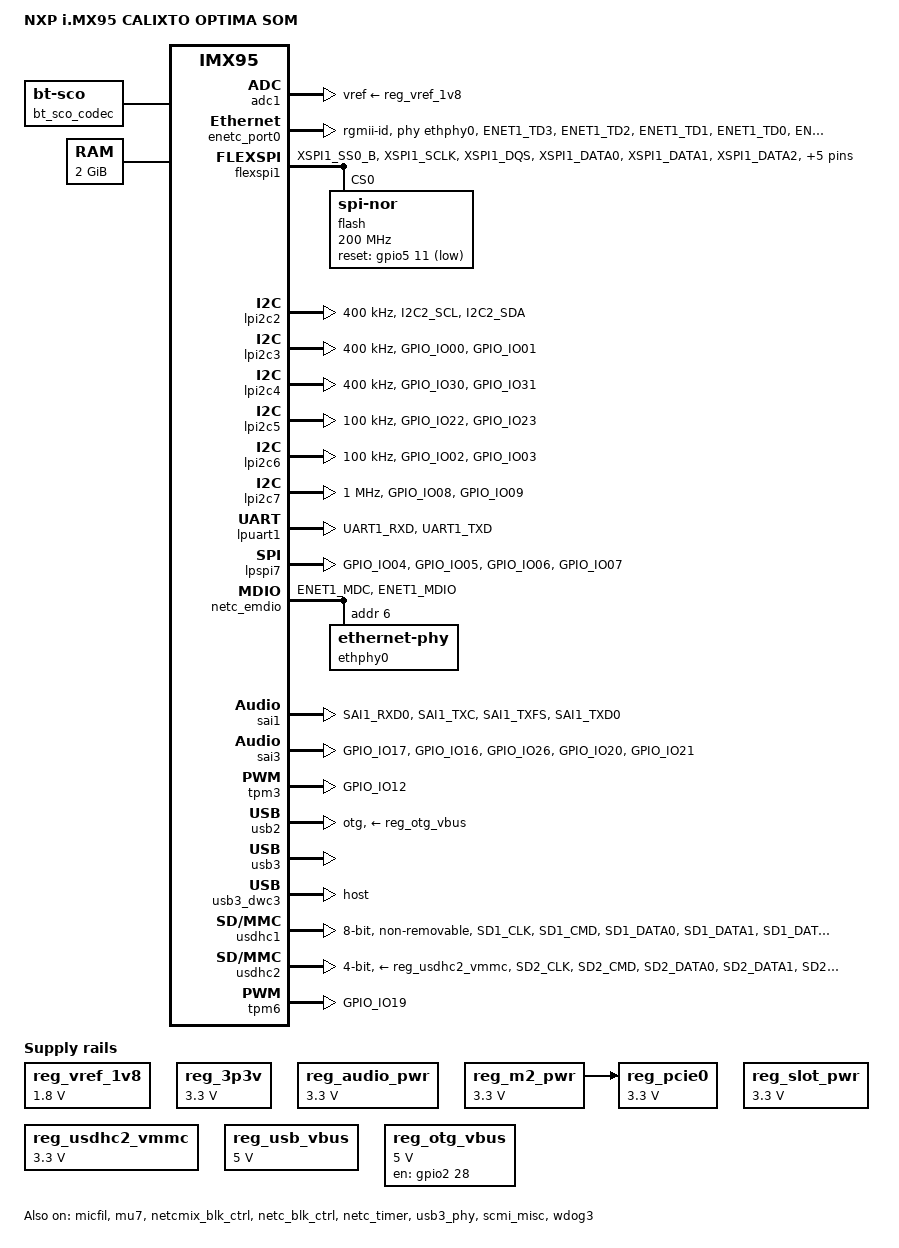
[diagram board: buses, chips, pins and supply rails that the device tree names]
// SPDX-License-Identifier: (GPL-2.0+ OR MIT)
/*
 * Copyright 2024 NXP
 */

/dts-v1/;

#include <dt-bindings/pwm/pwm.h>
#include <dt-bindings/usb/pd.h>
#include "imx95.dtsi"

#define FALLING_EDGE			1
#define RISING_EDGE			2

/ {
	model = "NXP i.MX95 CALIXTO OPTIMA SOM";
	compatible = "fsl,imx95-calixto-optima", "fsl,imx95";

	chosen {
                bootargs = "console=ttyLP0,115200 earlycon";
        };

	aliases {
		ethernet0 = &enetc_port0;
		gpio0 = &gpio1;
		gpio1 = &gpio2;
		gpio2 = &gpio3;
		gpio3 = &gpio4;
		gpio4 = &gpio5;
		i2c0 = &lpi2c1;
		i2c1 = &lpi2c2;
		i2c2 = &lpi2c3;
		i2c3 = &lpi2c4;
		i2c4 = &lpi2c5;
		i2c5 = &lpi2c6;
		i2c6 = &lpi2c7;
		i2c7 = &lpi2c8;
		mmc0 = &usdhc1;
		mmc1 = &usdhc2;
		serial0 = &lpuart1;
		serial4 = &lpuart5;
	};

	bt_sco_codec: audio-codec-bt-sco {
		#sound-dai-cells = <1>;
		compatible = "linux,bt-sco";
	};

	chosen {
		stdout-path = &lpuart1;
	};

	memory@80000000 {
		device_type = "memory";
		reg = <0x0 0x80000000 0 0x80000000>;
	};

	reserved-memory {
		ranges;
		#address-cells = <2>;
		#size-cells = <2>;

		linux_cma: linux,cma {
			compatible = "shared-dma-pool";
			alloc-ranges = <0 0x80000000 0 0x7F000000>;
			reusable;
			size = <0 0x3c000000>;
			linux,cma-default;
		};

		vdev0vring0: vdev0vring0@88000000 {
			reg = <0 0x88000000 0 0x8000>;
			no-map;
		};

		vdev0vring1: vdev0vring1@88008000 {
			reg = <0 0x88008000 0 0x8000>;
			no-map;
		};

		vdev1vring0: vdev1vring0@88010000 {
			reg = <0 0x88010000 0 0x8000>;
			no-map;
		};

		vdev1vring1: vdev1vring1@88018000 {
			reg = <0 0x88018000 0 0x8000>;
			no-map;
		};

		vdevbuffer: vdevbuffer@88020000 {
			compatible = "shared-dma-pool";
			reg = <0 0x88020000 0 0x100000>;
			no-map;
		};

		rsc_table: rsc-table@88220000 {
			reg = <0 0x88220000 0 0x1000>;
			no-map;
		};

		vpu_boot: vpu_boot@a0000000 {
			reg = <0 0xa0000000 0 0x100000>;
			no-map;
		};
	};

	reg_vref_1v8: regulator-1p8v {
		compatible = "regulator-fixed";
		regulator-max-microvolt = <1800000>;
		regulator-min-microvolt = <1800000>;
		regulator-name = "+V1.8_SW";
	};

	reg_3p3v: regulator-3p3v {
		compatible = "regulator-fixed";
		regulator-max-microvolt = <3300000>;
		regulator-min-microvolt = <3300000>;
		regulator-name = "+V3.3_SW";
	};

	reg_audio_pwr: regulator-audio-pwr {
		compatible = "regulator-fixed";
		regulator-name = "audio-pwr";
		regulator-min-microvolt = <3300000>;
		regulator-max-microvolt = <3300000>;
		enable-active-high;
		regulator-always-on;
		regulator-boot-on;
	};

	reg_audio_slot: regulator-audio-slot {
		compatible = "regulator-fixed";
		regulator-name = "audio-wm8962";
		regulator-min-microvolt = <3300000>;
		regulator-max-microvolt = <3300000>;
		enable-active-high;
		regulator-always-on;
		regulator-boot-on;
		status = "disabled";
	};

	reg_m2_pwr: regulator-m2-pwr {
		compatible = "regulator-fixed";
		regulator-name = "M.2-power";
		regulator-min-microvolt = <3300000>;
		regulator-max-microvolt = <3300000>;
		enable-active-high;
		regulator-boot-on;
		startup-delay-us = <5000>;
	};

	reg_pcie0: regulator-pcie {
		compatible = "regulator-fixed";
		regulator-name = "PCIE_WLAN_EN";
		regulator-min-microvolt = <3300000>;
		regulator-max-microvolt = <3300000>;
		vin-supply = <&reg_m2_pwr>;
		enable-active-high;
		regulator-boot-on;
	};

	reg_slot_pwr: regulator-slot-pwr {
		compatible = "regulator-fixed";
		regulator-name = "PCIe slot-power";
		regulator-min-microvolt = <3300000>;
		regulator-max-microvolt = <3300000>;
		enable-active-high;
		regulator-boot-on;
	};

	reg_usdhc2_vmmc: regulator-usdhc2 {
		compatible = "regulator-fixed";
		pinctrl-names = "default";
		pinctrl-0 = <&pinctrl_reg_usdhc2_vmmc>;
		regulator-name = "VDD_SD2_3V3";
		regulator-min-microvolt = <3300000>;
		regulator-max-microvolt = <3300000>;
		//gpio = <&gpio3 7 GPIO_ACTIVE_HIGH>;
		enable-active-high;
		off-on-delay-us = <12000>;
	};

	reg_usb_vbus: regulator-vbus {
		compatible = "regulator-fixed";
		regulator-name = "USB_VBUS";
		regulator-min-microvolt = <5000000>;
		regulator-max-microvolt = <5000000>;
		enable-active-high;
		regulator-boot-on;
	};
	
	reg_otg_vbus: regulator-otg-vbus {
		compatible = "regulator-fixed";
		regulator-name = "usb_otg_vbus";
		regulator-min-microvolt = <5000000>;
		regulator-max-microvolt = <5000000>;
		pinctrl-names = "default";
		pinctrl-0 = <&pinctrl_otg_vbus>;
		gpio = <&gpio2 28 GPIO_ACTIVE_HIGH>;
		enable-active-high;		
	};

	sound-bt-sco {
		compatible = "simple-audio-card";
		simple-audio-card,name = "bt-sco-audio";
		simple-audio-card,format = "dsp_a";
		simple-audio-card,bitclock-inversion;
		simple-audio-card,frame-master = <&btcpu>;
		simple-audio-card,bitclock-master = <&btcpu>;

		btcpu: simple-audio-card,cpu {
			sound-dai = <&sai1>;
			dai-tdm-slot-num = <2>;
			dai-tdm-slot-width = <16>;
		};

		simple-audio-card,codec {
			sound-dai = <&bt_sco_codec 1>;
		};
	};

	sound-micfil {
		compatible = "fsl,imx-audio-card";
		model = "micfil-audio";

		pri-dai-link {
			link-name = "micfil hifi";
			format = "i2s";
			cpu {
				sound-dai = <&micfil>;
			};
		};
	};
};

&adc1 {
	vref-supply = <&reg_vref_1v8>;
	status = "okay";
};

&enetc_port0 {
	pinctrl-names = "default";
	pinctrl-0 = <&pinctrl_enetc0>;
	phy-handle = <&ethphy0>;
	phy-mode = "rgmii-id";
	status = "okay";
};

&flexcan1 {
	pinctrl-names = "default";
	pinctrl-0 = <&pinctrl_flexcan1>;
//	phys = <&flexcan1_phy>;
	status = "disabled";
};

&flexcan2 {
	pinctrl-names = "default";
	pinctrl-0 = <&pinctrl_flexcan2>;
//	phys = <&flexcan2_phy>;
	status = "disabled";
};

&flexspi1 {
	pinctrl-names = "default";
	pinctrl-0 = <&pinctrl_flexspi1>;
	status = "okay";

	flash@0 {
		compatible = "jedec,spi-nor";
		reg = <0>;
		pinctrl-names = "default";
		pinctrl-0 = <&pinctrl_flexspi1_reset>;
		reset-gpios = <&gpio5 11 GPIO_ACTIVE_LOW>;
		#address-cells = <1>;
		#size-cells = <1>;
		spi-max-frequency = <200000000>;
		spi-tx-bus-width = <8>;
		spi-rx-bus-width = <8>;
	};
};

&lpi2c2 {
	clock-frequency = <400000>;
	pinctrl-names = "default";
	pinctrl-0 = <&pinctrl_lpi2c2>;
	status = "okay";
};

&lpi2c3 {
	clock-frequency = <400000>;
	pinctrl-names = "default";
	pinctrl-0 = <&pinctrl_lpi2c3>;
	status = "okay";
};

&lpi2c4 {
	clock-frequency = <400000>;
	pinctrl-names = "default";
	pinctrl-0 = <&pinctrl_lpi2c4>;
	status = "okay";

};

&lpi2c5 {
	clock-frequency = <100000>;
	pinctrl-names = "default";
	pinctrl-0 = <&pinctrl_lpi2c5>;
	status = "okay";

};

&lpi2c6 {
	clock-frequency = <100000>;
	pinctrl-names = "default";
	pinctrl-0 = <&pinctrl_lpi2c6>;
	status = "okay";
};

&lpi2c7 {
	clock-frequency = <1000000>;
	pinctrl-names = "default";
	pinctrl-0 = <&pinctrl_lpi2c7>;
	status = "okay";
};

&lpuart1 {
	/* console */
	pinctrl-names = "default";
	pinctrl-0 = <&pinctrl_uart1>;
	status = "okay";
};

&lpuart5 {
	pinctrl-names = "default";
	pinctrl-0 = <&pinctrl_uart5>;
	status = "disabled";
};

&lpspi7 {
	num-cs = <1>;
	pinctrl-names = "default";
	pinctrl-0 = <&pinctrl_lpspi7>;
//	cs-gpios = <&gpio2 4 GPIO_ACTIVE_LOW>;
	status = "okay";
};

&micfil {
	#sound-dai-cells = <0>;
	pinctrl-names = "default";
	pinctrl-0 = <&pinctrl_pdm>;
	assigned-clocks = <&scmi_clk IMX95_CLK_AUDIOPLL1_VCO>,
			  <&scmi_clk IMX95_CLK_AUDIOPLL2_VCO>,
			  <&scmi_clk IMX95_CLK_AUDIOPLL1>,
			  <&scmi_clk IMX95_CLK_AUDIOPLL2>,
			  <&scmi_clk IMX95_CLK_PDM>;
	assigned-clock-parents = <0>, <0>, <0>, <0>,
				 <&scmi_clk IMX95_CLK_AUDIOPLL1>;
	assigned-clock-rates = <3932160000>,
			       <3612672000>, <393216000>,
			       <361267200>, <49152000>;
	status = "okay";
};

&mu7 {
	status = "okay";
};

&netcmix_blk_ctrl {
	status = "okay";
};

&netc_blk_ctrl {
	status = "okay";
};

&netc_emdio {
	pinctrl-names = "default";
	pinctrl-0 = <&pinctrl_emdio>;
	status = "okay";

	ethphy0: ethernet-phy@6 {
		reg = <6>;
		reset-assert-us = <10000>;
		reset-deassert-us = <80000>;
	};
};

&netc_timer {
	status = "okay";
};

&pcie0 {
	pinctrl-0 = <&pinctrl_pcie0>;
	pinctrl-names = "default";
//	reset-gpio = <&i2c7_pcal6524 5 GPIO_ACTIVE_LOW>;
	vpcie-supply = <&reg_pcie0>;
	status = "disabled";
};

&pcie0_ep {
	pinctrl-0 = <&pinctrl_pcie0>;
	pinctrl-names = "default";
	vpcie-supply = <&reg_pcie0>;
	status = "disabled";
};

&pcie1 {
	pinctrl-0 = <&pinctrl_pcie1>;
	pinctrl-names = "default";
//	reset-gpio = <&i2c7_pcal6524 16 GPIO_ACTIVE_LOW>;
	vpcie-supply = <&reg_slot_pwr>;
	status = "disabled";
};

&pcie1_ep {
	pinctrl-0 = <&pinctrl_pcie1>;
	pinctrl-names = "default";
	vpcie-supply = <&reg_slot_pwr>;
	status = "disabled";
};


&sai1 {
	#sound-dai-cells = <0>;
	pinctrl-names = "default";
	pinctrl-0 = <&pinctrl_sai1>;
	assigned-clocks = <&scmi_clk IMX95_CLK_AUDIOPLL1_VCO>,
			  <&scmi_clk IMX95_CLK_AUDIOPLL2_VCO>,
			  <&scmi_clk IMX95_CLK_AUDIOPLL1>,
			  <&scmi_clk IMX95_CLK_AUDIOPLL2>,
			  <&scmi_clk IMX95_CLK_SAI1>;
	assigned-clock-parents = <0>, <0>, <0>, <0>,
				 <&scmi_clk IMX95_CLK_AUDIOPLL1>;
	assigned-clock-rates = <3932160000>,
			       <3612672000>, <393216000>,
			       <361267200>, <12288000>;
	fsl,sai-mclk-direction-output;
	status = "okay";
};

&sai3 {
	#sound-dai-cells = <0>;
	pinctrl-names = "default";
	pinctrl-0 = <&pinctrl_sai3>;
	assigned-clocks = <&scmi_clk IMX95_CLK_AUDIOPLL1_VCO>,
			  <&scmi_clk IMX95_CLK_AUDIOPLL2_VCO>,
			  <&scmi_clk IMX95_CLK_AUDIOPLL1>,
			  <&scmi_clk IMX95_CLK_AUDIOPLL2>,
			  <&scmi_clk IMX95_CLK_SAI3>;
	assigned-clock-parents = <0>, <0>, <0>, <0>,
				 <&scmi_clk IMX95_CLK_AUDIOPLL1>;
	assigned-clock-rates = <3932160000>,
			       <3612672000>, <393216000>,
			       <361267200>, <12288000>;
	fsl,sai-mclk-direction-output;
	status = "okay";
};

&tpm3 {
	pinctrl-names = "default";
	pinctrl-0 = <&pinctrl_tpm3>;
	status = "okay";
};

&usb2 {
	dr_mode = "otg";
	hnp-disable;
	srp-disable;
	adp-disable;
	vbus-supply = <&reg_otg_vbus>;
	disable-over-current;
	status = "okay";
};

&usb3 {
	status = "okay";
};

&usb3_dwc3 {
	dr_mode = "host";
	snps,dis-u1-entry-quirk;
	snps,dis-u2-entry-quirk;
	status = "okay";
};


&usb3_phy {
	status = "okay";
};

&usdhc1 {
	pinctrl-names = "default", "state_100mhz", "state_200mhz", "sleep";
	pinctrl-0 = <&pinctrl_usdhc1>;
	pinctrl-1 = <&pinctrl_usdhc1_100mhz>;
	pinctrl-2 = <&pinctrl_usdhc1_200mhz>;
	pinctrl-3 = <&pinctrl_usdhc1>;
	bus-width = <8>;
	non-removable;
	no-sdio;
	no-sd;
	status = "okay";
};

&usdhc2 {
	pinctrl-names = "default", "state_100mhz", "state_200mhz", "sleep";
	pinctrl-0 = <&pinctrl_usdhc2>, <&pinctrl_usdhc2_gpio>;
	pinctrl-1 = <&pinctrl_usdhc2_100mhz>, <&pinctrl_usdhc2_gpio>;
	pinctrl-2 = <&pinctrl_usdhc2_200mhz>, <&pinctrl_usdhc2_gpio>;
	pinctrl-3 = <&pinctrl_usdhc2>, <&pinctrl_usdhc2_gpio>;
	cd-gpios = <&gpio3 0 GPIO_ACTIVE_LOW>;
	vmmc-supply = <&reg_usdhc2_vmmc>;
	bus-width = <4>;
	status = "okay";
};

&scmi_misc {
	status = "okay";
};

&wdog3 {
	fsl,ext-reset-output;
	status = "okay";
};

&scmi_iomuxc {
	pinctrl_emdio: emdiogrp {
		fsl,pins = <
			IMX95_PAD_ENET1_MDC__NETCMIX_TOP_NETC_MDC		0x50e
			IMX95_PAD_ENET1_MDIO__NETCMIX_TOP_NETC_MDIO		0x90e
		>;
	};

	pinctrl_enetc0: enetc0grp {
		fsl,pins = <
			IMX95_PAD_ENET1_TD3__NETCMIX_TOP_ETH0_RGMII_TD3		0x50e
			IMX95_PAD_ENET1_TD2__NETCMIX_TOP_ETH0_RGMII_TD2		0x50e
			IMX95_PAD_ENET1_TD1__NETCMIX_TOP_ETH0_RGMII_TD1		0x50e
			IMX95_PAD_ENET1_TD0__NETCMIX_TOP_ETH0_RGMII_TD0		0x50e
			IMX95_PAD_ENET1_TX_CTL__NETCMIX_TOP_ETH0_RGMII_TX_CTL	0x57e
			IMX95_PAD_ENET1_TXC__NETCMIX_TOP_ETH0_RGMII_TX_CLK	0x58e
			IMX95_PAD_ENET1_RX_CTL__NETCMIX_TOP_ETH0_RGMII_RX_CTL	0x57e
			IMX95_PAD_ENET1_RXC__NETCMIX_TOP_ETH0_RGMII_RX_CLK	0x58e
			IMX95_PAD_ENET1_RD0__NETCMIX_TOP_ETH0_RGMII_RD0		0x57e
			IMX95_PAD_ENET1_RD1__NETCMIX_TOP_ETH0_RGMII_RD1		0x57e
			IMX95_PAD_ENET1_RD2__NETCMIX_TOP_ETH0_RGMII_RD2		0x57e
			IMX95_PAD_ENET1_RD3__NETCMIX_TOP_ETH0_RGMII_RD3		0x57e
		>;
	};
	
	pinctrl_otg_vbus: usbotggrp {
		fsl,pins = <
			IMX95_PAD_GPIO_IO28__GPIO2_IO_BIT28			0x31e
		>;
	};

	pinctrl_flexcan1: flexcan1grp {
		fsl,pins = <
			IMX95_PAD_PDM_CLK__AONMIX_TOP_CAN1_TX			0x39e
			IMX95_PAD_PDM_BIT_STREAM0__AONMIX_TOP_CAN1_RX		0x39e
		>;
	};

	pinctrl_flexcan2: flexcan2grp {
		fsl,pins = <
			IMX95_PAD_GPIO_IO25__CAN2_TX				0x39e
			IMX95_PAD_GPIO_IO27__CAN2_RX				0x39e
		>;
	};

	pinctrl_flexspi1: flexspi1grp {
		fsl,pins = <
			IMX95_PAD_XSPI1_SS0_B__FLEXSPI1_A_SS0_B			0x3fe
			IMX95_PAD_XSPI1_SCLK__FLEXSPI1_A_SCLK			0x3fe
			IMX95_PAD_XSPI1_DQS__FLEXSPI1_A_DQS			0x3fe
			IMX95_PAD_XSPI1_DATA0__FLEXSPI1_A_DATA_BIT0		0x3fe
			IMX95_PAD_XSPI1_DATA1__FLEXSPI1_A_DATA_BIT1		0x3fe
			IMX95_PAD_XSPI1_DATA2__FLEXSPI1_A_DATA_BIT2		0x3fe
			IMX95_PAD_XSPI1_DATA3__FLEXSPI1_A_DATA_BIT3		0x3fe
			IMX95_PAD_XSPI1_DATA4__FLEXSPI1_A_DATA_BIT4		0x3fe
			IMX95_PAD_XSPI1_DATA5__FLEXSPI1_A_DATA_BIT5		0x3fe
			IMX95_PAD_XSPI1_DATA6__FLEXSPI1_A_DATA_BIT6		0x3fe
			IMX95_PAD_XSPI1_DATA7__FLEXSPI1_A_DATA_BIT7		0x3fe
		>;
	};

	pinctrl_flexspi1_reset: flexspi1-reset-grp {
		fsl,pins = <
			IMX95_PAD_XSPI1_SS1_B__GPIO5_IO_BIT11			0x3fe
		>;
	};

	pinctrl_hp: hpgrp {
		fsl,pins = <
			IMX95_PAD_GPIO_IO11__GPIO2_IO_BIT11		0x31e
		>;
	};

	pinctrl_lpi2c1: lpi2c1grp {
		fsl,pins = <
			IMX95_PAD_I2C1_SCL__AONMIX_TOP_LPI2C1_SCL		0x40000b9e
			IMX95_PAD_I2C1_SDA__AONMIX_TOP_LPI2C1_SDA		0x40000b9e
		>;
	};

	pinctrl_lpi2c2: lpi2c2grp {
		fsl,pins = <
			IMX95_PAD_I2C2_SCL__AONMIX_TOP_LPI2C2_SCL		0x40000b9e
			IMX95_PAD_I2C2_SDA__AONMIX_TOP_LPI2C2_SDA		0x40000b9e
		>;
	};

	pinctrl_lpi2c3: lpi2c3grp {
		fsl,pins = <
			IMX95_PAD_GPIO_IO00__LPI2C3_SDA				0x40000b9e
			IMX95_PAD_GPIO_IO01__LPI2C3_SCL				0x40000b9e
		>;
	};

	pinctrl_lpi2c4: lpi2c4grp {
		fsl,pins = <
			IMX95_PAD_GPIO_IO30__LPI2C4_SDA			0x40000b9e
			IMX95_PAD_GPIO_IO31__LPI2C4_SCL			0x40000b9e
		>;
	};

	pinctrl_lpi2c5: lpi2c5grp {
		fsl,pins = <
			IMX95_PAD_GPIO_IO22__LPI2C5_SDA			0x40000b9e
			IMX95_PAD_GPIO_IO23__LPI2C5_SCL			0x40000b9e
		>;
	};

	pinctrl_lpi2c6: lpi2c6grp {
		fsl,pins = <
			IMX95_PAD_GPIO_IO02__LPI2C6_SDA			0x40000b9e
			IMX95_PAD_GPIO_IO03__LPI2C6_SCL			0x40000b9e
		>;
	};

	pinctrl_lpi2c7: lpi2c7grp {
		fsl,pins = <
			IMX95_PAD_GPIO_IO08__LPI2C7_SDA			0x40000b9e
			IMX95_PAD_GPIO_IO09__LPI2C7_SCL			0x40000b9e
		>;
	};

	pinctrl_lpspi7: lpspi7grp {
		fsl,pins = <
			IMX95_PAD_GPIO_IO04__GPIO2_IO_BIT4		0x3fe
			IMX95_PAD_GPIO_IO05__LPSPI7_SIN			0x3fe
			IMX95_PAD_GPIO_IO06__LPSPI7_SOUT		0x3fe
			IMX95_PAD_GPIO_IO07__LPSPI7_SCK			0x3fe
		>;
	};

	pinctrl_pcie0: pcie0grp {
		fsl,pins = <
			IMX95_PAD_GPIO_IO32__HSIOMIX_TOP_PCIE1_CLKREQ_B		0x4000031e
		>;
	};

	pinctrl_pcie1: pcie1grp {
		fsl,pins = <
			IMX95_PAD_GPIO_IO35__HSIOMIX_TOP_PCIE2_CLKREQ_B		0x4000031e
		>;
	};

	pinctrl_pdm: pdmgrp {
		fsl,pins = <
			IMX95_PAD_PDM_CLK__AONMIX_TOP_PDM_CLK				0x31e
			IMX95_PAD_PDM_BIT_STREAM0__AONMIX_TOP_PDM_BIT_STREAM_BIT0	0x31e
		>;
	};

	pinctrl_sai1: sai1grp {
		fsl,pins = <
			IMX95_PAD_SAI1_RXD0__AONMIX_TOP_SAI1_RX_DATA_BIT0    0x31e
			IMX95_PAD_SAI1_TXC__AONMIX_TOP_SAI1_TX_BCLK      0x31e
			IMX95_PAD_SAI1_TXFS__AONMIX_TOP_SAI1_TX_SYNC     0x31e
			IMX95_PAD_SAI1_TXD0__AONMIX_TOP_SAI1_TX_DATA_BIT0    0x31e
		>;
	};

	pinctrl_sai2: sai2grp {
		fsl,pins = <
			IMX95_PAD_ENET2_MDIO__NETCMIX_TOP_SAI2_RX_BCLK			0x31e
			IMX95_PAD_ENET2_MDC__NETCMIX_TOP_SAI2_RX_SYNC			0x31e
			IMX95_PAD_ENET2_TD3__NETCMIX_TOP_SAI2_RX_DATA_BIT0		0x31e
			IMX95_PAD_ENET2_TD2__NETCMIX_TOP_SAI2_RX_DATA_BIT1		0x31e
			IMX95_PAD_ENET2_TXC__NETCMIX_TOP_SAI2_TX_BCLK			0x31e
			IMX95_PAD_ENET2_TX_CTL__NETCMIX_TOP_SAI2_TX_SYNC		0x31e
			IMX95_PAD_ENET2_RX_CTL__NETCMIX_TOP_SAI2_TX_DATA_BIT0		0x31e
			IMX95_PAD_ENET2_RXC__NETCMIX_TOP_SAI2_TX_DATA_BIT1		0x31e
			IMX95_PAD_ENET2_RD0__NETCMIX_TOP_SAI2_TX_DATA_BIT2		0x31e
			IMX95_PAD_ENET2_RD1__NETCMIX_TOP_SAI2_TX_DATA_BIT3		0x31e
			IMX95_PAD_ENET2_RD2__NETCMIX_TOP_SAI2_MCLK			0x31e
		>;
	};

	pinctrl_sai3: sai3grp {
		fsl,pins = <
			IMX95_PAD_GPIO_IO17__SAI3_MCLK				0x31e
			IMX95_PAD_GPIO_IO16__SAI3_TX_BCLK			0x31e
			IMX95_PAD_GPIO_IO26__SAI3_TX_SYNC			0x31e
			IMX95_PAD_GPIO_IO20__SAI3_RX_DATA_BIT0			0x31e
			IMX95_PAD_GPIO_IO21__SAI3_TX_DATA_BIT0			0x31e
		>;
	};

	pinctrl_tpm3: tpm3grp {
		fsl,pins = <
			IMX95_PAD_GPIO_IO12__TPM3_CH2			0x51e
		>;
	};

	pinctrl_tpm6: tpm6grp {
		fsl,pins = <
			IMX95_PAD_GPIO_IO19__TPM6_CH2			0x51e
		>;
	};

	pinctrl_uart1: uart1grp {
		fsl,pins = <
			IMX95_PAD_UART1_RXD__AONMIX_TOP_LPUART1_RX      0x31e
			IMX95_PAD_UART1_TXD__AONMIX_TOP_LPUART1_TX      0x31e
		>;
	};

	pinctrl_uart5: uart5grp {
		fsl,pins = <
			IMX95_PAD_DAP_TDO_TRACESWO__LPUART5_TX		0x31e
			IMX95_PAD_DAP_TDI__LPUART5_RX			0x31e
			IMX95_PAD_DAP_TMS_SWDIO__LPUART5_RTS_B		0x31e
			IMX95_PAD_DAP_TCLK_SWCLK__LPUART5_CTS_B		0x31e
		>;
	};

	pinctrl_usdhc1: usdhc1grp {
		fsl,pins = <
			IMX95_PAD_SD1_CLK__USDHC1_CLK			0x158e
			IMX95_PAD_SD1_CMD__USDHC1_CMD			0x138e
			IMX95_PAD_SD1_DATA0__USDHC1_DATA0		0x138e
			IMX95_PAD_SD1_DATA1__USDHC1_DATA1		0x138e
			IMX95_PAD_SD1_DATA2__USDHC1_DATA2		0x138e
			IMX95_PAD_SD1_DATA3__USDHC1_DATA3		0x138e
			IMX95_PAD_SD1_DATA4__USDHC1_DATA4		0x138e
			IMX95_PAD_SD1_DATA5__USDHC1_DATA5		0x138e
			IMX95_PAD_SD1_DATA6__USDHC1_DATA6		0x138e
			IMX95_PAD_SD1_DATA7__USDHC1_DATA7		0x138e
			IMX95_PAD_SD1_STROBE__USDHC1_STROBE		0x158e
		>;
	};

	pinctrl_usdhc1_100mhz: usdhc1-100mhzgrp {
		fsl,pins = <
			IMX95_PAD_SD1_CLK__USDHC1_CLK			0x158e
			IMX95_PAD_SD1_CMD__USDHC1_CMD			0x138e
			IMX95_PAD_SD1_DATA0__USDHC1_DATA0		0x138e
			IMX95_PAD_SD1_DATA1__USDHC1_DATA1		0x138e
			IMX95_PAD_SD1_DATA2__USDHC1_DATA2		0x138e
			IMX95_PAD_SD1_DATA3__USDHC1_DATA3		0x138e
			IMX95_PAD_SD1_DATA4__USDHC1_DATA4		0x138e
			IMX95_PAD_SD1_DATA5__USDHC1_DATA5		0x138e
			IMX95_PAD_SD1_DATA6__USDHC1_DATA6		0x138e
			IMX95_PAD_SD1_DATA7__USDHC1_DATA7		0x138e
			IMX95_PAD_SD1_STROBE__USDHC1_STROBE		0x158e
		>;
	};

	pinctrl_usdhc1_200mhz: usdhc1-200mhzgrp {
		fsl,pins = <
			IMX95_PAD_SD1_CLK__USDHC1_CLK			0x15fe
			IMX95_PAD_SD1_CMD__USDHC1_CMD			0x13fe
			IMX95_PAD_SD1_DATA0__USDHC1_DATA0		0x13fe
			IMX95_PAD_SD1_DATA1__USDHC1_DATA1		0x13fe
			IMX95_PAD_SD1_DATA2__USDHC1_DATA2		0x13fe
			IMX95_PAD_SD1_DATA3__USDHC1_DATA3		0x13fe
			IMX95_PAD_SD1_DATA4__USDHC1_DATA4		0x13fe
			IMX95_PAD_SD1_DATA5__USDHC1_DATA5		0x13fe
			IMX95_PAD_SD1_DATA6__USDHC1_DATA6		0x13fe
			IMX95_PAD_SD1_DATA7__USDHC1_DATA7		0x13fe
			IMX95_PAD_SD1_STROBE__USDHC1_STROBE		0x15fe
		>;
	};

	pinctrl_reg_usdhc2_vmmc: regusdhc2vmmcgrp {
		fsl,pins = <
			IMX95_PAD_SD2_RESET_B__GPIO3_IO_BIT7		0x31e
		>;
	};

	pinctrl_usdhc2_gpio: usdhc2gpiogrp {
		fsl,pins = <
			IMX95_PAD_SD2_CD_B__GPIO3_IO_BIT0		0x31e
		>;
	};

	pinctrl_usdhc2: usdhc2grp {
		fsl,pins = <
			IMX95_PAD_SD2_CLK__USDHC2_CLK			0x158e
			IMX95_PAD_SD2_CMD__USDHC2_CMD			0x138e
			IMX95_PAD_SD2_DATA0__USDHC2_DATA0		0x138e
			IMX95_PAD_SD2_DATA1__USDHC2_DATA1		0x138e
			IMX95_PAD_SD2_DATA2__USDHC2_DATA2		0x138e
			IMX95_PAD_SD2_DATA3__USDHC2_DATA3		0x138e
			IMX95_PAD_SD2_VSELECT__USDHC2_VSELECT		0x51e
		>;
	};

	pinctrl_usdhc2_100mhz: usdhc2-100mhzgrp {
		fsl,pins = <
			IMX95_PAD_SD2_CLK__USDHC2_CLK			0x158e
			IMX95_PAD_SD2_CMD__USDHC2_CMD			0x138e
			IMX95_PAD_SD2_DATA0__USDHC2_DATA0		0x138e
			IMX95_PAD_SD2_DATA1__USDHC2_DATA1		0x138e
			IMX95_PAD_SD2_DATA2__USDHC2_DATA2		0x138e
			IMX95_PAD_SD2_DATA3__USDHC2_DATA3		0x138e
			IMX95_PAD_SD2_VSELECT__USDHC2_VSELECT		0x51e
		>;
	};

	pinctrl_usdhc2_200mhz: usdhc2-200mhzgrp {
		fsl,pins = <
			IMX95_PAD_SD2_CLK__USDHC2_CLK			0x158e
			IMX95_PAD_SD2_CMD__USDHC2_CMD			0x138e
			IMX95_PAD_SD2_DATA0__USDHC2_DATA0		0x138e
			IMX95_PAD_SD2_DATA1__USDHC2_DATA1		0x138e
			IMX95_PAD_SD2_DATA2__USDHC2_DATA2		0x138e
			IMX95_PAD_SD2_DATA3__USDHC2_DATA3		0x138e
			IMX95_PAD_SD2_VSELECT__USDHC2_VSELECT		0x51e
		>;
	};
};

&thermal_zones {
	a55-thermal {
		trips {
			atrip2: trip2 {
				temperature = <55000>;
				hysteresis = <2000>;
				type = "active";
			};

			atrip3: trip3 {
				temperature = <65000>;
				hysteresis = <2000>;
				type = "active";
			};

			atrip4: trip4 {
				temperature = <75000>;
				hysteresis = <2000>;
				type = "active";
			};
		};

//		cooling-maps {
//			map1 {
//				trip = <&atrip2>;
//				cooling-device = <&fan0 0 1>;
//			};
//
//			map2 {
//				trip = <&atrip3>;
//				cooling-device = <&fan0 1 2>;
//			};
//
//			map3 {
//				trip = <&atrip4>;
//				cooling-device = <&fan0 2 3>;
//			};
//		};
	};

	pf09-thermal {
		polling-delay = <2000>;
		polling-delay-passive = <250>;
		thermal-sensors = <&scmi_sensor 2>;

		trips {
			pf09_alert: trip0 {
				hysteresis = <2000>;
				temperature = <140000>;
				type = "passive";
			};

			pf09_crit: trip1 {
				hysteresis = <2000>;
				temperature = <155000>;
				type = "critical";
			};
		};
	};

	pf53arm-thermal {
		polling-delay = <2000>;
		polling-delay-passive = <250>;
		thermal-sensors = <&scmi_sensor 4>;

		cooling-maps {
			map0 {
				trip = <&pf5301_alert>;
				cooling-device =
					<&A55_0 THERMAL_NO_LIMIT THERMAL_NO_LIMIT>,
					<&A55_1 THERMAL_NO_LIMIT THERMAL_NO_LIMIT>,
					<&A55_2 THERMAL_NO_LIMIT THERMAL_NO_LIMIT>,
					<&A55_3 THERMAL_NO_LIMIT THERMAL_NO_LIMIT>,
					<&A55_4 THERMAL_NO_LIMIT THERMAL_NO_LIMIT>,
					<&A55_5 THERMAL_NO_LIMIT THERMAL_NO_LIMIT>;
			};
		};

		trips {
			pf5301_alert: trip0 {
				hysteresis = <2000>;
				temperature = <140000>;
				type = "passive";
			};

			pf5301_crit: trip1 {
				hysteresis = <2000>;
				temperature = <155000>;
				type = "critical";
			};
		};
	};

	pf53soc-thermal {
		polling-delay = <2000>;
		polling-delay-passive = <250>;
		thermal-sensors = <&scmi_sensor 3>;

		trips {
			pf5302_alert: trip0 {
				hysteresis = <2000>;
				temperature = <140000>;
				type = "passive";
			};

			pf5302_crit: trip1 {
				hysteresis = <2000>;
				temperature = <155000>;
				type = "critical";
			};
		};
	};
};	
	
&tpm6 {
	pinctrl-names = "default";
	pinctrl-0 = <&pinctrl_tpm6>;
	status = "okay";
};
